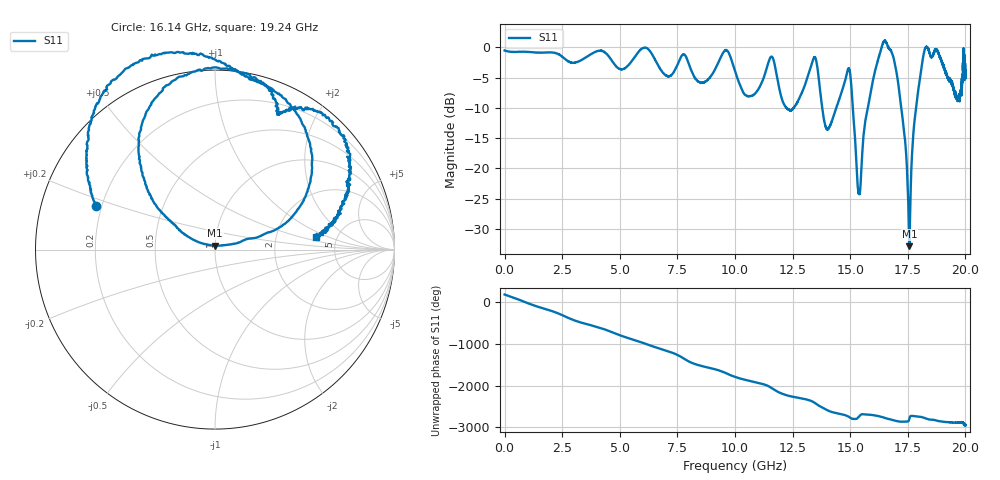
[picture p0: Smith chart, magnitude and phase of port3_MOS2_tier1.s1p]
! Created with skrf 1.8.0 (http://scikit-rf.org).
# GHz S RI R 50.0
!freq ReS11 ImS11
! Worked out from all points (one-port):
!   10001 points, 1 MHz to 20 GHz, reference 50 ohm
!   lowest |S11| = -32.8 dB at 17.57 GHz (marker M1), VSWR 1.05, Z = 50 + j2.28 ohm
!   |S11| at or under -10 dB: 13.79 GHz to 14.4 GHz (609.5 MHz wide, 4.33 % of centre); 15.11 GHz to 15.77 GHz (652 MHz wide, 4.22 % of centre); 17.22 GHz to 17.86 GHz (642.3 MHz wide, 3.66 % of centre) (the widest 3 of 6)
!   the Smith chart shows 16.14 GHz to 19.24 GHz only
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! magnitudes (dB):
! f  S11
! 1 MHz  -0.5
! 2.501 GHz  -1.5
! 5.001 GHz  -3.6
! 6.073 GHz  0.0
! 7.019 GHz  -4.7
! 7.501 GHz  -2.9
! 8.617 GHz  -5.8
! 9.615 GHz  -0.5
! 10 GHz  -3.9
! 10.73 GHz  -8.0
! 11.6 GHz  -1.5
! 12.5 GHz  -10.2
! 13.43 GHz  -1.7
! 14 GHz  -13.5
! 15 GHz  -4.3
! 15.39 GHz  -24.2
! 15.65 GHz  -12.2
! 16.07 GHz  -4.0
! 16.45 GHz  1.0
! 16.77 GHz  -0.6
! 17.21 GHz  -9.9
! 17.5 GHz  -23.2
! 17.57 GHz  -32.8
! 17.82 GHz  -11.3
! 18.25 GHz  -0.2
! 18.79 GHz  -0.6
! 19.67 GHz  -8.6
! 20 GHz  -2.8
